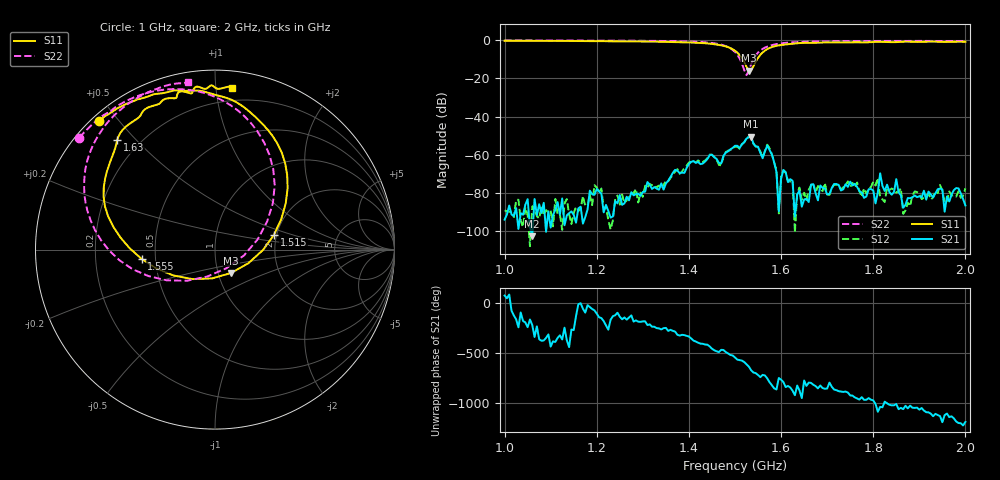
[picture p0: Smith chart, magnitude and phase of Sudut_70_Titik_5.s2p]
# Hz S RI R 50
! CMT, C1220, 16058040, 17.2.0/1
! Date: 14/08/2018 11:47:01
! Data: Format (Calibration Info)
! Freq  S11: Re/Im (F2)  S21: Re/Im (F2)  S12: Re/Im (F2)  S22: Re/Im (F2)
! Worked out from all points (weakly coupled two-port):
!   201 points, 1 GHz to 2 GHz, reference 50 ohm
!   highest |S21| = -50.45 dB at 1.535 GHz (marker M1); lowest = -102.6 dB at 1.06 GHz (marker M2)
!   lowest |S11| = -16.0 dB at 1.53 GHz (marker M3), VSWR 1.38, Z = 57.7 - j15.4 ohm
!   |S11| at or under -10 dB: 1.516 GHz to 1.548 GHz (31.76 MHz wide, 2.07 % of centre)
!   |S22| runs from -18.3 to -0.2 dB; largest |S21 - S12| = 0.00031
!   S11 on the Smith chart (normalised r, x): 1 GHz: 0.02, +0.44; 1.515 GHz: 1.94, +0.36; 1.555 GHz: 0.42, -0.05; 1.63 GHz: 0.12, +0.44; 2 GHz: 0.11, +1.11
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1e9  -0.6488 0.715  7.26e-06 1.87e-05  -3.5e-05 4.69e-06  -0.7551 0.6244
1.06e9  -0.585 0.7597  -5.44e-06 4.98e-06  3.87e-05 2.24e-05  -0.7137 0.6693
1.17e9  -0.4677 0.8228  7.44e-06 -1.4e-05  6.95e-05 4.49e-05  -0.6183 0.7508
1.335e9  -0.2033 0.8857  -2.75e-05 0.000119  -3.13e-05 0.000154  -0.4008 0.866
1.45e9  0.1838 0.7755  -0.000144 -0.000987  -0.000234 -0.00098  0.021 0.8413
1.47e9  0.2934 0.6684  -0.000196 -0.000557  -0.000191 -0.000492  0.163 0.7443
1.5e9  0.4046 0.3415  -0.00171 0.000184  -0.00161 0.00014  0.3327 0.3575
1.515e9  0.3287 0.0819  -0.00152 0.00113  -0.00154 0.00108  0.2379 0.0574
1.53e9  0.0904 -0.1299  0.000283 0.00288  0.000227 0.00292  -0.0429 -0.1501
1.535e9  -0.016 -0.1605  0.00202 0.00222  0.002 0.00226  -0.1563 -0.1736
1.555e9  -0.4091 -0.0517  0.00106 -0.000396  0.00116 -0.000392  -0.5317 -0.06
1.575e9  -0.5953 0.1844  0.000424 -0.00127  0.000397 -0.00142  -0.6928 0.1621
1.595e9  -0.6124 0.3953  2.89e-05 -1.65e-05  2.32e-05 1.77e-05  -0.7291 0.3433
1.605e9  -0.5878 0.4789  0.000139 -0.000376  0.00014 -0.000361  -0.7264 0.4136
1.63e9  -0.5443 0.611  -2.25e-05 8.02e-06  1.5e-06 9.07e-06  -0.6956 0.5435
1.67e9  -0.4314 0.7312  -1.87e-05 -0.000169  -8.98e-05 -0.000157  -0.6261 0.6721
1.805e9  -0.2033 0.876  1.56e-05 5.11e-05  0.000141 6.94e-05  -0.4179 0.8538
1.815e9  -0.1846 0.8817  0.000234 0.000228  -3.08e-05 6.92e-05  -0.4041 0.8614
1.835e9  -0.1377 0.8702  4.45e-05 9.66e-05  4.87e-05 0.000109  -0.3777 0.8745
1.85e9  -0.1243 0.8797  6.66e-05 0.000221  7.44e-05 7.08e-05  -0.357 0.8839
1.86e9  -0.1176 0.8971  7.23e-05 4.96e-05  0.000125 4.81e-05  -0.3429 0.8893
2e9  0.097 0.9026  -1.23e-05 -4.57e-05  -8.7e-05 -0.0001  -0.1514 0.9343
